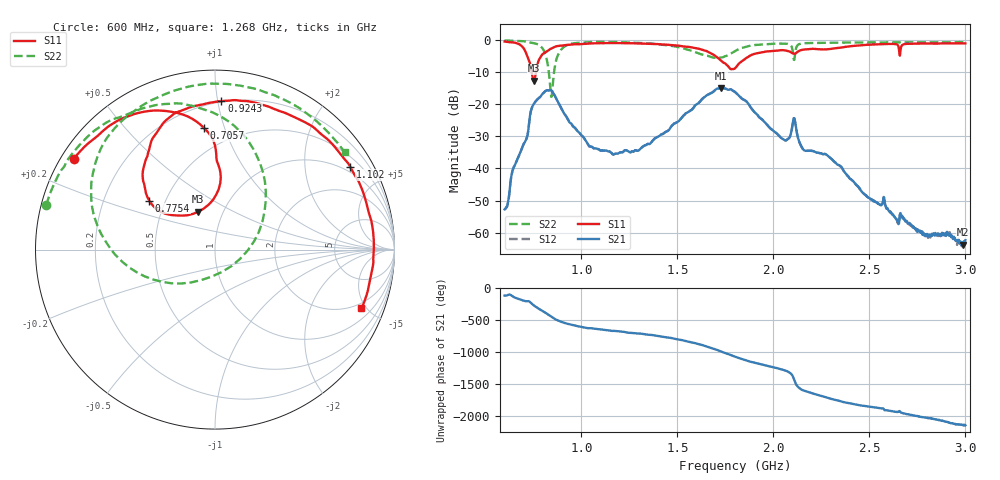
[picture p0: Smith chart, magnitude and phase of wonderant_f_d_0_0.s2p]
#  HZ  S  RI  R  50.00
! Rohde & Schwarz ZVB8 2Ports - Version 2.81 - 1145.1010k08 SN: 100113
! Date: 2016-05-17 22:37:29
! Measurements: S11 S21 S12 S22
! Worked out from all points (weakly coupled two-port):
!   1000 points, 600 MHz to 3 GHz, reference 50 ohm
!   highest |S21| = -15.10 dB at 1.727 GHz (marker M1); lowest = -63.7 dB at 2.986 GHz (marker M2)
!   lowest |S11| = -12.7 dB at 751.4 MHz (marker M3), VSWR 1.60, Z = 38.2 + j17 ohm
!   |S11| at or under -10 dB: 740.9 MHz to 763.9 MHz (23.02 MHz wide, 3.06 % of centre)
!   |S22| runs from -17.8 to -0.2 dB; largest |S21 - S12| = 0.0017
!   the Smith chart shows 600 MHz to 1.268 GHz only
!   S11 on the Smith chart (normalised r, x): 600 MHz: 0.04, +0.29; 705.7 MHz: 0.34, +0.85; 775.4 MHz: 0.41, +0.28; 924.3 MHz: 0.19, +1.02; 1.102 GHz: 0.80, +3.37; 1.268 GHz: 1.61, -4.64
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6e8  -0.7876 0.5056  -0.00105 -0.00206  -0.00113 -0.00202  -0.9407 0.2485
7.057057e8  -0.061 0.6772  -0.0239 0.00929  -0.0239 0.00939  -0.6639 0.6684
7.513514e8  -0.0933 0.2109  -0.00302 0.0995  -0.00395 0.0995  -0.4106 0.7844
7.753754e8  -0.3668 0.2733  0.0887 0.0826  0.0887 0.0841  -0.2116 0.8151
8.234234e8  -0.3667 0.5574  0.1115 -0.1205  0.1116 -0.12  0.2829 0.3263
8.546547e8  -0.293 0.6986  -0.0495 -0.1358  -0.0493 -0.1359  -0.1863 -0.1889
9.243243e8  0.0354 0.8276  -0.0591 0.0167  -0.0591 0.0165  -0.6685 0.4743
1.001201e9  0.3879 0.7628  -0.0115 0.0302  -0.0117 0.0301  -0.3664 0.826
1.102102e9  0.7537 0.4612  0.00504 0.0182  0.00493 0.0181  0.0864 0.9209
1.267868e9  0.8161 -0.3277  0.0176 0.00512  0.0176 0.00521  0.7228 0.5413
1.4e9  0.3504 -0.7784  0.0268 -0.016  0.0268 -0.016  0.8435 -0.0948
1.601802e9  -0.5488 -0.4825  -0.0866 -0.0491  -0.0862 -0.0494  0.1435 -0.6094
1.726727e9  -0.4728 0.0373  0.00555 0.1757  0.00529 0.1755  -0.0876 -0.5212
1.801201e9  -0.3614 -0.0149  0.1526 0.0118  0.1524 0.0125  -0.2565 -0.6181
1.904505e9  -0.5237 0.3045  -0.000653 -0.0732  -2.55e-05 -0.0734  -0.7198 -0.4079
2.031832e9  0.0299 0.6825  -0.0315 0.00268  -0.0315 0.00269  -0.8467 0.2007
2.108709e9  0.3875 0.4651  0.0602 -0.00118  0.0602 -0.00078  -0.4314 0.2194
2.2e9  0.7149 0.0914  -0.0168 0.0081  -0.0168 0.00811  -0.5233 0.7183
2.409009e9  0.2193 -0.7657  0.00643 -0.00123  0.00645 -0.00122  0.2681 0.863
2.601201e9  -0.5967 -0.6194  -0.00105 -0.00193  -0.00106 -0.00194  0.8048 0.4231
2.985586e9  -0.6833 0.551  0.00063 0.000179  0.000632 0.000213  0.5694 -0.7147
3e9  -0.6533 0.5852  0.000761 0.000136  0.000673 0.000199  0.5404 -0.7376
